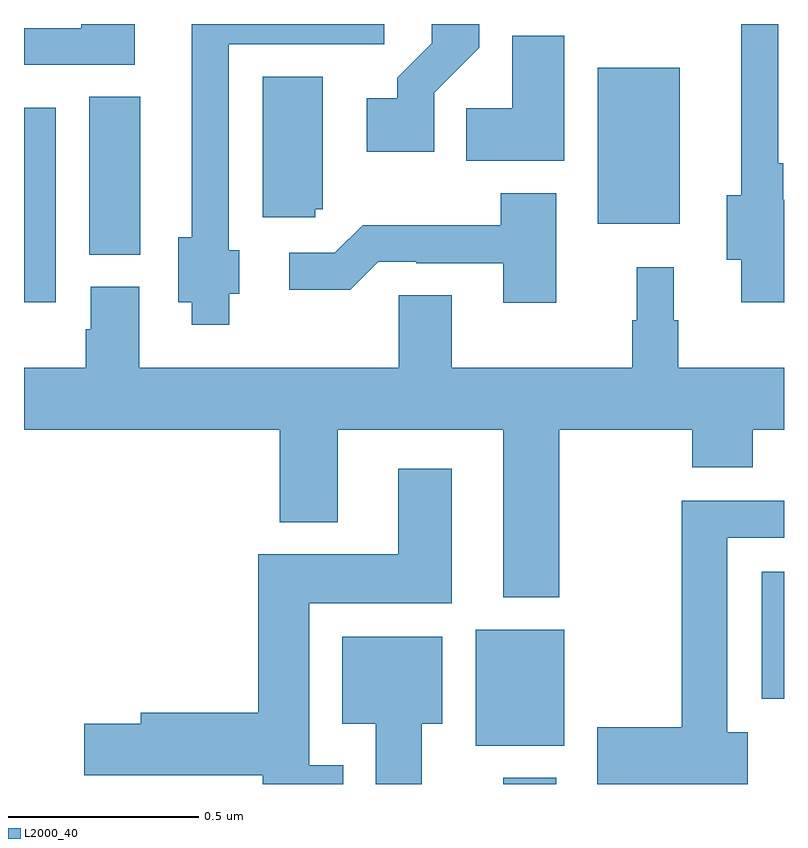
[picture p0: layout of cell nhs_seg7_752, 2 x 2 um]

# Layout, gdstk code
import gdstk
lib = gdstk.Library(unit=1e-6, precision=1e-09)
def R(c, l, rs):  # rectangles x0, y0, x1, y1
    for r in rs: c.add(gdstk.rectangle(r[:2], r[2:], *l))
def P(c, l, *ps):  # polygons
    for p in ps: c.add(gdstk.Polygon(p, *l))
L2000_40 = (2000, 40)

nhs_seg7_752 = lib.new_cell('nhs_seg7_752')
R(nhs_seg7_752, L2000_40, [(122.261,1017,122.401,1017.016), (122.189,1017.101,122.422,1017.406), (122.942,1017.224,123,1017.559), (121,1018.268,121.084,1018.78), (121.172,1018.393,121.306,1018.808), (122.51,1018.475,122.725,1018.885)])
P(nhs_seg7_752, L2000_40, [(122.079,1018.819),(122.198,1018.938),(122.198,1019),(122.073,1019),(122.073,1018.949),(121.982,1018.859),(121.982,1018.804),(121.902,1018.804),(121.902,1018.664),(122.079,1018.664)],
  [(121.291,1019),(121.151,1019),(121.151,1018.989),(121,1018.989),(121,1018.893),(121.291,1018.893)],
  [(123,1018.537),(122.998,1018.537),(122.998,1018.633),(122.985,1018.633),(122.985,1019),(122.888,1019),(122.888,1018.55),(122.849,1018.55),(122.849,1018.379),(122.888,1018.379),(122.888,1018.268),(123,1018.268)],
  [(121.54,1018.29),(121.567,1018.29),(121.567,1018.404),(121.539,1018.404),(121.539,1018.947),(121.948,1018.947),(121.948,1019),(121.442,1019),(121.442,1018.439),(121.406,1018.439),(121.406,1018.268),(121.442,1018.268),(121.442,1018.208),(121.54,1018.208)],
  [(122.422,1018.969),(122.285,1018.969),(122.285,1018.778),(122.164,1018.778),(122.164,1018.64),(122.422,1018.64)],
  [(121.767,1018.512),(121.786,1018.512),(121.786,1018.861),(121.628,1018.861),(121.628,1018.491),(121.767,1018.491)],
  [(122.401,1018.555),(122.254,1018.555),(122.254,1018.471),(121.891,1018.471),(121.818,1018.398),(121.698,1018.398),(121.698,1018.301),(121.859,1018.301),(121.932,1018.374),(122.032,1018.374),(122.032,1018.371),(122.261,1018.371),(122.261,1018.266),(122.401,1018.266)],
  [(122.409,1017.932),(122.758,1017.932),(122.758,1017.833),(122.918,1017.833),(122.918,1017.932),(123,1017.932),(123,1018.096),(122.722,1018.096),(122.722,1018.22),(122.71,1018.22),(122.71,1018.36),(122.612,1018.36),(122.612,1018.22),(122.601,1018.22),(122.601,1018.096),(122.125,1018.096),(122.125,1018.286),(121.986,1018.286),(121.986,1018.096),(121.303,1018.096),(121.303,1018.308),(121.175,1018.308),(121.175,1018.197),(121.163,1018.197),(121.163,1018.096),(121,1018.096),(121,1017.932),(121.673,1017.932),(121.673,1017.689),(121.825,1017.689),(121.825,1017.932),(122.261,1017.932),(122.261,1017.491),(122.409,1017.491)],
  [(121.84,1017.049),(121.75,1017.049),(121.75,1017.476),(122.125,1017.476),(122.125,1017.829),(121.985,1017.829),(121.985,1017.604),(121.616,1017.604),(121.616,1017.188),(121.307,1017.188),(121.307,1017.158),(121.158,1017.158),(121.158,1017.023),(121.628,1017.023),(121.628,1017),(121.84,1017)],
  [(122.905,1017.136),(122.851,1017.136),(122.851,1017.648),(123,1017.648),(123,1017.746),(122.731,1017.746),(122.731,1017.149),(122.508,1017.149),(122.508,1017),(122.905,1017)],
  [(122.047,1017.158),(122.101,1017.158),(122.101,1017.388),(121.838,1017.388),(121.838,1017.158),(121.925,1017.158),(121.925,1017),(122.047,1017)])

lib.write_gds('nhs_seg7_752.gds')
